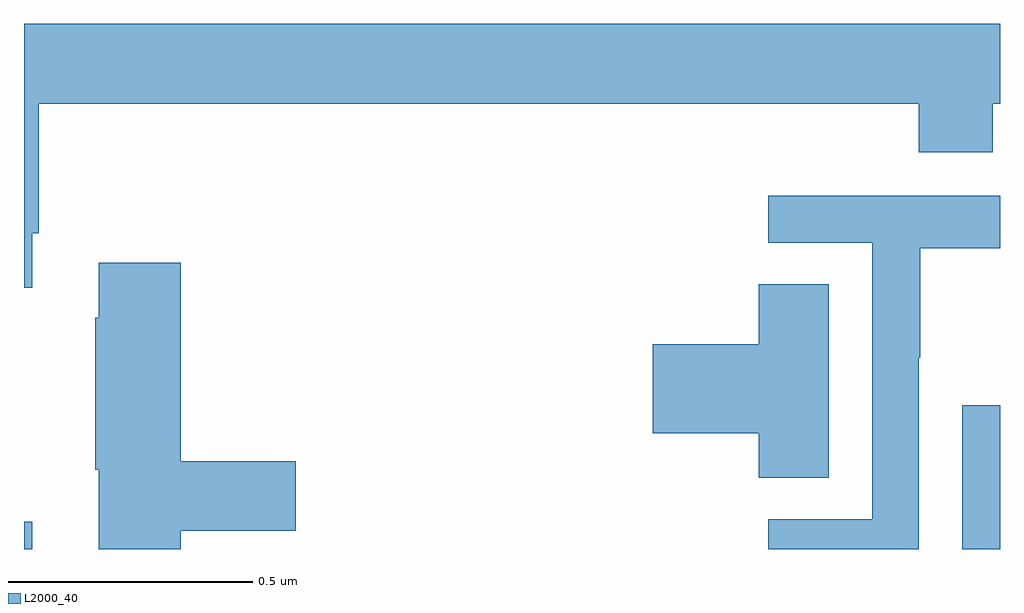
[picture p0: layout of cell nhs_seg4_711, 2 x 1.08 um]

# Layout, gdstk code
import gdstk
lib = gdstk.Library(unit=1e-6, precision=1e-09)
def R(c, l, rs):  # rectangles x0, y0, x1, y1
    for r in rs: c.add(gdstk.rectangle(r[:2], r[2:], *l))
def P(c, l, *ps):  # polygons
    for p in ps: c.add(gdstk.Polygon(p, *l))
L2000_40 = (2000, 40)

nhs_seg4_711 = lib.new_cell('nhs_seg4_711')
R(nhs_seg4_711, L2000_40, [(119,803.9,119.017,803.956), (120.923,803.9,121,804.195)])
P(nhs_seg4_711, L2000_40, [(119.017,804.547),(119.03,804.547),(119.03,804.812),(120.833,804.812),(120.833,804.713),(120.985,804.713),(120.985,804.812),(121,804.812),(121,804.976),(119,804.976),(119,804.435),(119.017,804.435)],
  [(120.834,804.292),(120.837,804.292),(120.837,804.516),(121,804.516),(121,804.624),(120.525,804.624),(120.525,804.528),(120.738,804.528),(120.738,803.961),(120.525,803.961),(120.525,803.9),(120.834,803.9)],
  [(119.321,803.938),(119.557,803.938),(119.557,804.08),(119.321,804.08),(119.321,804.487),(119.153,804.487),(119.153,804.374),(119.146,804.374),(119.146,804.063),(119.153,804.063),(119.153,803.9),(119.321,803.9)],
  [(120.649,804.443),(120.506,804.443),(120.506,804.32),(120.288,804.32),(120.288,804.137),(120.506,804.137),(120.506,804.046),(120.649,804.046)])

lib.write_gds('nhs_seg4_711.gds')
